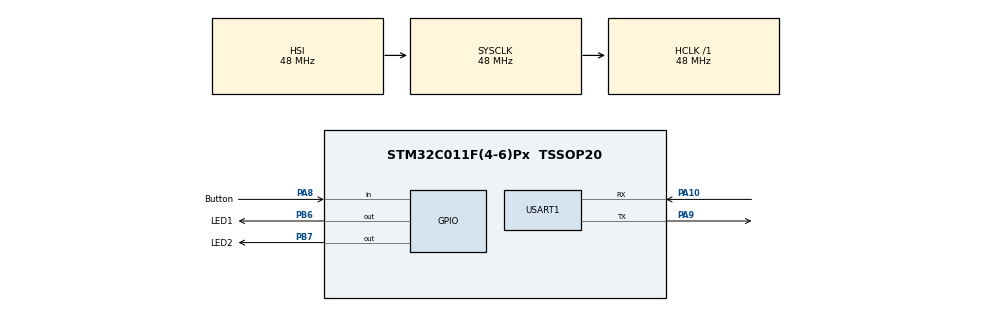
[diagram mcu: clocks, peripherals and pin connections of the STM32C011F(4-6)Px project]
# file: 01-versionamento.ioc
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Mcu.Family=STM32C0
Mcu.Name=STM32C011F(4-6)Px
Mcu.Package=TSSOP20
PA10\ [PA12].Mode=Asynchronous
PA10\ [PA12].Signal=USART1_RX
PA13.Mode=Serial_Wire
PA13.Signal=DEBUG_SWDIO
PA14-BOOT0.Mode=Serial_Wire
PA14-BOOT0.Signal=DEBUG_SWCLK
PA8.GPIO_Label=Button
PA8.GPIO_PuPd=GPIO_PULLUP
PA8.Signal=GPIO_Input
PA9\ [PA11].Mode=Asynchronous
PA9\ [PA11].Signal=USART1_TX
PB6.GPIO_Label=LED1
PB6.Signal=GPIO_Output
PB7.GPIO_Label=LED2
PB7.Signal=GPIO_Output
ProjectManager.HeapSize=0x200
ProjectManager.StackSize=0x400
ProjectManager.TargetToolchain=STM32CubeIDE
RCC.ADCFreq_Value=48000000
RCC.AHBFreq_Value=48000000
RCC.CortexFreq_Value=48000000
RCC.EXTERNAL_CLOCK_VALUE=12288000
RCC.HCLKFreq_Value=48000000
RCC.HSE_VALUE=8000000
RCC.HSISYSCLKDivider=RCC_HSI_DIV1
RCC.HSI_VALUE=48000000
RCC.LSE_VALUE=32768
RCC.SYSCLKFreq_VALUE=48000000
USART1.VirtualMode-Asynchronous=VM_ASYNC
VP_SYS_VS_PINREMAP.Mode=PINREMAP
VP_SYS_VS_PINREMAP_10_12.Mode=PINREMAP_10_12
board=custom

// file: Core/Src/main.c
/* USER CODE BEGIN Header */
/**
 ******************************************************************************
 * @file           : main.c
 * @brief          : Main program body
 ******************************************************************************
 * @attention
 *
 * Copyright (c) 2024 STMicroelectronics.
 * All rights reserved.
 *
 * This software is licensed under terms that can be found in the LICENSE file
 * in the root directory of this software component.
 * If no LICENSE file comes with this software, it is provided AS-IS.
 *
 ******************************************************************************
 */
/* USER CODE END Header */
#include "main.h"
#include "usart.h"
#include "gpio.h"

/* USER CODE BEGIN Includes */
#include <stdio.h>
#include "utils/calculator.h"

/* USER CODE END Includes */

void SystemClock_Config(void);

int main(void)
{

  /* MCU Configuration--------------------------------------------------------*/

  /* Reset of all peripherals, Initializes the Flash interface and the Systick. */
  HAL_Init();

  /* Configure the system clock */
  SystemClock_Config();

  /* Initialize all configured peripherals */
  MX_GPIO_Init();
  MX_USART1_UART_Init();

  /* Infinite loop */
  /* USER CODE BEGIN WHILE */

  HAL_GPIO_WritePin(LED1_GPIO_Port, LED1_Pin, GPIO_PIN_SET);
  HAL_GPIO_WritePin(LED2_GPIO_Port, LED2_Pin, GPIO_PIN_RESET);

  uint8_t msg[20] = "";
  uint8_t count = 0;

  while (1) {
    HAL_GPIO_TogglePin(LED1_GPIO_Port, LED1_Pin);
    HAL_GPIO_TogglePin(LED2_GPIO_Port, LED2_Pin);

    snprintf((char *)msg, 20, "Hello world %u\r\n", count++);
    HAL_UART_Transmit(&huart1, msg, sizeof(msg), 100);

    HAL_Delay(500);

    int calc1, calc2;

    calc1 = sum(count, count);
    calc2 = multiply(count, count);
    int calc3 = power(count, 2);
    int len = snprintf((char *)msg, 20, "  %d %d %d\r\n", calc1, calc2, calc3);
    HAL_UART_Transmit(&huart1, msg, len, 100);

    HAL_Delay(500);

    /* USER CODE END WHILE */

  }
}

void SystemClock_Config(void)
{
  RCC_OscInitTypeDef RCC_OscInitStruct = {0};
  RCC_ClkInitTypeDef RCC_ClkInitStruct = {0};

  __HAL_FLASH_SET_LATENCY(FLASH_LATENCY_1);

  /** Initializes the RCC Oscillators according to the specified parameters
  * in the RCC_OscInitTypeDef structure.
  */
  RCC_OscInitStruct.OscillatorType = RCC_OSCILLATORTYPE_HSI;
  RCC_OscInitStruct.HSIState = RCC_HSI_ON;
  RCC_OscInitStruct.HSIDiv = RCC_HSI_DIV1;
  RCC_OscInitStruct.HSICalibrationValue = RCC_HSICALIBRATION_DEFAULT;
  if (HAL_RCC_OscConfig(&RCC_OscInitStruct) != HAL_OK)
  {
    Error_Handler();
  }

  /** Initializes the CPU, AHB and APB buses clocks
  */
  RCC_ClkInitStruct.ClockType = RCC_CLOCKTYPE_HCLK|RCC_CLOCKTYPE_SYSCLK
                              |RCC_CLOCKTYPE_PCLK1;
  RCC_ClkInitStruct.SYSCLKSource = RCC_SYSCLKSOURCE_HSI;
  RCC_ClkInitStruct.SYSCLKDivider = RCC_SYSCLK_DIV1;
  RCC_ClkInitStruct.AHBCLKDivider = RCC_HCLK_DIV1;
  RCC_ClkInitStruct.APB1CLKDivider = RCC_APB1_DIV1;

  if (HAL_RCC_ClockConfig(&RCC_ClkInitStruct, FLASH_LATENCY_1) != HAL_OK)
  {
    Error_Handler();
  }
}

void Error_Handler(void)
{
  __disable_irq();
  while (1) {}
}
